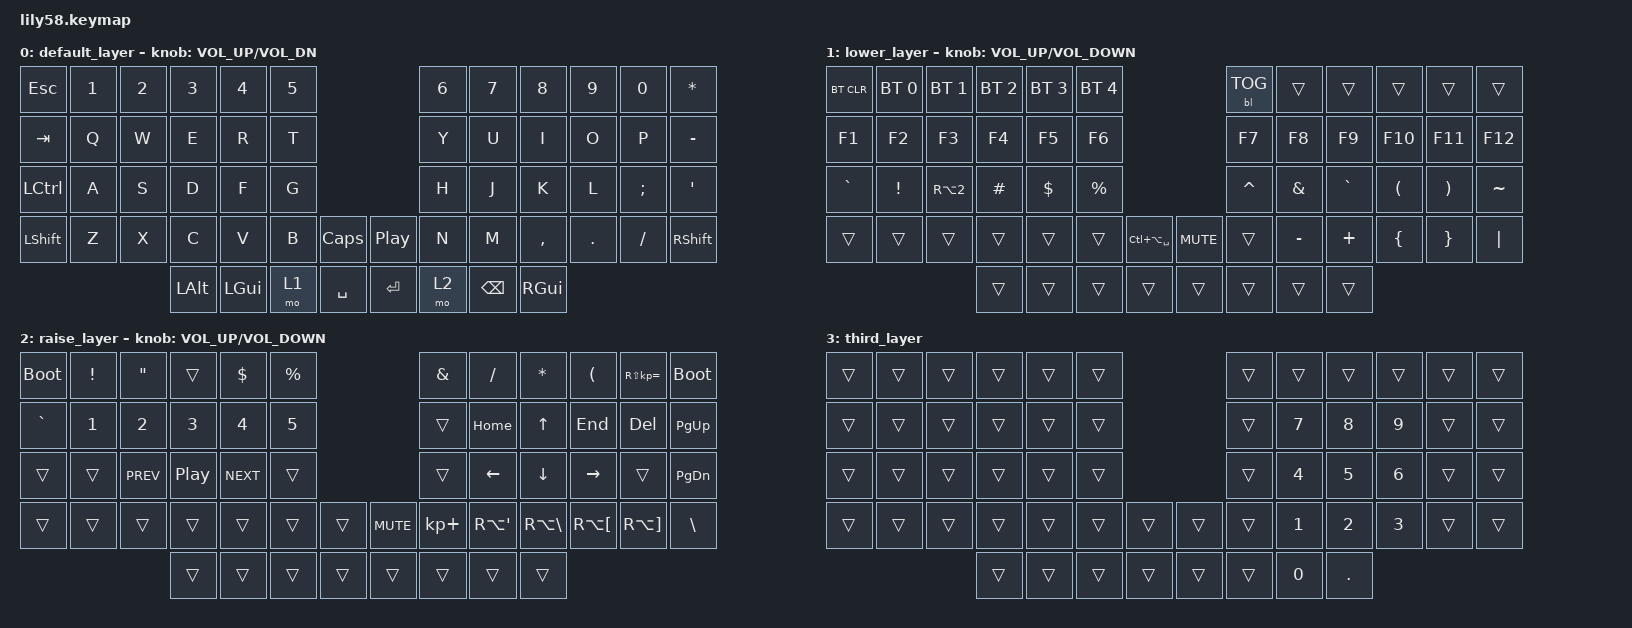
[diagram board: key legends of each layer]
/*
 * Copyright (c) 2020 The ZMK Contributors
 *
 * SPDX-License-Identifier: MIT
 */

#include <behaviors.dtsi>
#include <dt-bindings/zmk/backlight.h>
#include <dt-bindings/zmk/bt.h>
#include <dt-bindings/zmk/keys.h>

/ {
    keymap {
        compatible = "zmk,keymap";

        default_layer {
            // ------------------------------------------------------------------------------------------------------------
            // |  ESC  |  1  |  2  |  3   |  4   |  5   |                   |  6   |  7    |  8    |  9   |   0   |   `   |
            // |  TAB  |  Q  |  W  |  E   |  R   |  T   |                   |  Y   |  U    |  I    |  O   |   P   |   -   |
            // |  CTRL |  A  |  S  |  D   |  F   |  G   |                   |  H   |  J    |  K    |  L   |   ;   |   '   |
            // | SHIFT |  Z  |  X  |  C   |  V   |  B   |   "["  |  |  "]"  |  N   |  M    |  ,    |  .   |   /   | SHIFT |
            //                     | ALT  | GUI  | LOWER|  SPACE |  | ENTER | RAISE| BSPC  | GUI   |

            bindings = <
&kp ESC         &kp N1  &kp N2  &kp N3        &kp N4    &kp N5                                    &kp N6  &kp N7    &kp N8     &kp N9   &kp N0    &kp ASTERISK
&kp TAB         &kp Q   &kp W   &kp E         &kp R     &kp T                                     &kp Y   &kp U     &kp I      &kp O    &kp P     &kp MINUS
&kp LCTRL       &kp A   &kp S   &kp D         &kp F     &kp G                                     &kp H   &kp J     &kp K      &kp L    &kp SEMI  &kp SQT
&kp LEFT_SHIFT  &kp Z   &kp X   &kp C         &kp V     &kp B   &kp CAPSLOCK    &kp C_PLAY_PAUSE  &kp N   &kp M     &kp COMMA  &kp DOT  &kp FSLH  &kp RSHFT
                                &kp LEFT_ALT  &kp LGUI  &mo 1   &kp SPACE       &kp RET           &mo 2   &kp BSPC  &kp RGUI
            >;

            sensor-bindings = <&inc_dec_kp C_VOL_UP C_VOL_DN>;
        };

        lower_layer {
            // ------------------------------------------------------------------------------------------------------------
            // | BTCLR | BT1 | BT2 |  BT3 |  BT4 |  BT5 |                   |      |       |       |      |       |       |
            // |  F1   |  F2 |  F3 |  F4  |  F5  |  F6  |                   |  F7  |  F8   |  F9   |  F10 |  F11  |  F12  |
            // |   `   |  !  |  @  |  #   |  $   |  %   |                   |  ^   |  &    |  *    |  (   |   )   |   ~   |
            // |       |     |     |      |      |      |        |  |       |      |  _    |  +    |  {   |   }   |  "|"  |
            //                     |      |      |      |        |  |       |      |       |       |

            bindings = <
&bt BT_CLR  &bt BT_SEL 0  &bt BT_SEL 1      &bt BT_SEL 2  &bt BT_SEL 3  &bt BT_SEL 4                                   &bl BL_TOG  &trans     &trans     &trans    &trans    &trans
&kp F1      &kp F2        &kp F3            &kp F4        &kp F5        &kp F6                                         &kp F7      &kp F8     &kp F9     &kp F10   &kp F11   &kp F12
&kp GRAVE   &kp EXCL      &kp RA(NUMBER_2)  &kp HASH      &kp DOLLAR    &kp PRCNT                                      &kp CARET   &kp AMPS   &kp GRAVE  &kp LPAR  &kp RPAR  &kp TILDE
&trans      &trans        &trans            &trans        &trans        &trans        &kp LC(LA(SPACE))    &kp K_MUTE  &trans      &kp MINUS  &kp PLUS   &kp LBRC  &kp RBRC  &kp PIPE
                                            &trans        &trans        &trans        &trans               &trans      &trans      &trans     &trans
            >;

            sensor-bindings {
                encoder0: encoder_0 {
                    bindings = <&kp A>;  // Giro horario → A
                };

                encoder1: encoder_1 {
                    bindings = <&kp B>;  // Giro horario → B
                };
            };

            sensor-bindings = <&inc_dec_kp C_VOLUME_UP C_VOLUME_DOWN>;
        };

        raise_layer {
            // ------------------------------------------------------------------------------------------------------------
            // |       |     |     |      |      |      |                   |      |       |       |      |       |       |
            // |   `   |  1  |  2  |  3   |  4   |  5   |                   |  6   |   7   |   8   |  9   |   0   |       |
            // |   F1  |  F2 |  F3 |  F4  |  F5  |  F6  |                   |      |   <-  |   v   |  ^   |  ->   |       |
            // |   F7  |  F8 |  F9 |  F10 |  F11 |  F12 |        |  |       |  +   |   -   |   =   |  [   |   ]   |   \   |
            //                     |      |      |      |        |  |       |      |       |       |

            bindings = <
&bootloader  &kp EXCLAMATION  &kp DOUBLE_QUOTES  &trans            &kp DOLLAR  &kp PERCENT                        &kp AMPERSAND  &kp SLASH     &kp ASTERISK       &kp LEFT_PARENTHESIS  &kp RS(KP_EQUAL)  &bootloader
&kp GRAVE    &kp N1           &kp N2             &kp N3            &kp N4      &kp N5                             &trans         &kp HOME      &kp UP             &kp END               &kp DELETE        &kp PG_UP
&trans       &trans           &kp C_PREV         &kp C_PLAY_PAUSE  &kp C_NEXT  &trans                             &trans         &kp LEFT      &kp DOWN           &kp RIGHT             &trans            &kp PAGE_DOWN
&trans       &trans           &trans             &trans            &trans      &trans       &trans    &kp K_MUTE  &kp KP_PLUS    &kp RA(APOS)  &kp RA(BACKSLASH)  &kp RA(LBKT)          &kp RA(RBKT)      &kp BSLH
                                                 &trans            &trans      &trans       &trans    &trans      &trans         &trans        &trans
            >;

            sensor-bindings = <&inc_dec_kp C_VOLUME_UP C_VOLUME_DOWN>;
        };

        third_layer {
            bindings = <
&trans  &trans  &trans  &trans  &trans  &trans                    &trans  &trans  &trans   &trans  &trans  &trans
&trans  &trans  &trans  &trans  &trans  &trans                    &trans  &kp N7  &kp N8   &kp N9  &trans  &trans
&trans  &trans  &trans  &trans  &trans  &trans                    &trans  &kp N4  &kp N5   &kp N6  &trans  &trans
&trans  &trans  &trans  &trans  &trans  &trans  &trans    &trans  &trans  &kp N1  &kp N2   &kp N3  &trans  &trans
                        &trans  &trans  &trans  &trans    &trans  &trans  &kp N0  &kp DOT
            >;
        };
    };

    conditional_layers {
        compatible = "zmk,conditional-layers";

        third_layer {
            if-layers = <1 2>;
            then-layer = <3>;
        };
    };
};
